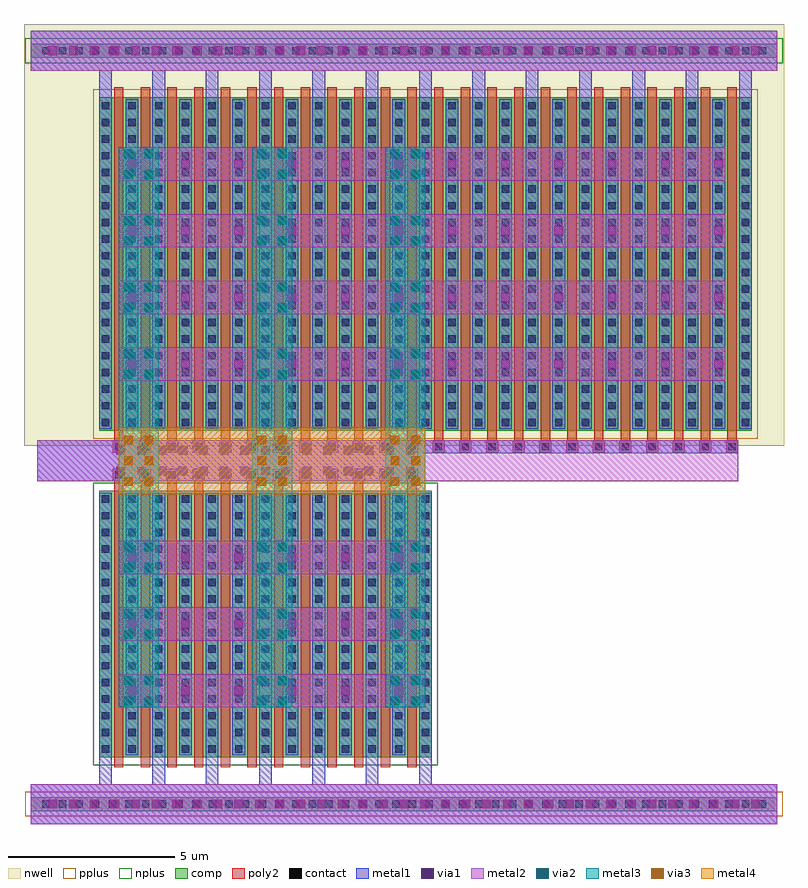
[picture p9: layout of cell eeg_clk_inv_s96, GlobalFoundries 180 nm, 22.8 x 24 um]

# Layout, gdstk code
import gdstk
lib = gdstk.Library(unit=1e-6, precision=1e-09)
def R(c, l, rs):  # rectangles x0, y0, x1, y1
    for r in rs: c.add(gdstk.rectangle(r[:2], r[2:], *l))
def A(c, l, x, y, w, h, nx, ny, dx, dy):  # array of equal rectangles
    R(c, l, [(x+i*dx, y+j*dy, x+i*dx+w, y+j*dy+h) for i in range(nx) for j in range(ny)])
nwell = (21, 0)
comp = (22, 0)
poly2 = (30, 0)
pplus = (31, 0)
nplus = (32, 0)
contact = (33, 0)
metal1 = (34, 0)
via1 = (35, 0)
metal2 = (36, 0)
via2 = (38, 0)
via3 = (40, 0)
metal3 = (42, 0)
metal4 = (46, 0)

eeg_clk_inv_s96 = lib.new_cell('eeg_clk_inv_s96')
R(eeg_clk_inv_s96, nwell, [(-0.2,11.35,22.6,24)])
R(eeg_clk_inv_s96, comp, [(0,0.39,22.4,0.81), (2.05,2,12.03,10), (2.05,11.8,21.63,21.8), (0,22.99,22.4,23.41)])
A(eeg_clk_inv_s96, poly2, 2.5, 1.7, 0.28, 8.96, 12, 1, 0.8, 0)
A(eeg_clk_inv_s96, poly2, 2.46, 10.3, 0.36, 0.36, 12, 1, 0.8, 0)
A(eeg_clk_inv_s96, poly2, 2.46, 11.14, 0.36, 0.36, 24, 1, 0.8, 0)
A(eeg_clk_inv_s96, poly2, 2.5, 11.14, 0.28, 10.96, 24, 1, 0.8, 0)
R(eeg_clk_inv_s96, pplus, [(-0.16,0.23,22.56,0.97), (1.87,11.56,21.81,22.04)])
R(eeg_clk_inv_s96, nplus, [(1.87,1.76,12.21,10.24), (-0.16,22.83,22.56,23.57)])
A(eeg_clk_inv_s96, contact, 0.34, 0.49, 0.22, 0.22, 44, 2, 0.5, 22.6)
A(eeg_clk_inv_s96, contact, 2.13, 2.14, 0.22, 0.22, 13, 16, 0.8, 0.5)
A(eeg_clk_inv_s96, contact, 2.53, 10.37, 0.22, 0.22, 12, 1, 0.8, 0)
A(eeg_clk_inv_s96, contact, 2.53, 11.21, 0.22, 0.22, 24, 1, 0.8, 0)
A(eeg_clk_inv_s96, contact, 2.13, 11.94, 0.22, 0.22, 25, 20, 0.8, 0.5)
A(eeg_clk_inv_s96, metal1, 2.05, 0.6, 0.38, 9.34, 7, 1, 1.6, 0)
A(eeg_clk_inv_s96, metal1, 2.85, 2.06, 0.38, 7.88, 6, 1, 1.6, 0)
A(eeg_clk_inv_s96, metal1, 2.05, 11.86, 0.38, 11.34, 13, 1, 1.6, 0)
A(eeg_clk_inv_s96, metal1, 2.85, 11.86, 0.38, 9.88, 12, 1, 1.6, 0)
R(eeg_clk_inv_s96, metal1, [(0,0,22.4,1.2), (0.2,0.1,22.2,1.1), (0,0.39,22.4,0.81), (0.2,10.29,11.63,11.51), (2.45,10.29,11.63,10.67), (2.45,10.29,11.63,11.51), (2.45,11.13,21.23,11.51), (0,22.6,22.4,23.8), (0.2,22.7,22.2,23.7), (0,22.99,22.4,23.41)])
A(eeg_clk_inv_s96, via1, 0.53, 0.47, 0.26, 0.26, 35, 2, 0.62, 22.6)
A(eeg_clk_inv_s96, via1, 2.91, 3.87, 0.26, 0.26, 6, 3, 1.6, 2)
A(eeg_clk_inv_s96, via1, 2.57, 10.46, 0.26, 0.26, 15, 2, 0.62, 0.62)
A(eeg_clk_inv_s96, via1, 2.91, 13.67, 0.26, 0.26, 12, 4, 1.6, 2)
A(eeg_clk_inv_s96, metal2, 2.64, 3.5, 1.2, 1, 3, 3, 4, 2)
A(eeg_clk_inv_s96, metal2, 2.85, 3.5, 8.38, 1, 1, 3, 0, 2)
A(eeg_clk_inv_s96, metal2, 2.64, 13.3, 1.2, 1, 3, 4, 4, 2)
A(eeg_clk_inv_s96, metal2, 2.85, 13.3, 17.98, 1, 1, 4, 0, 2)
R(eeg_clk_inv_s96, metal2, [(0,0,22.4,1.2), (0.2,0.1,22.2,1.1), (0.2,10.29,21.23,11.51), (2.45,10.29,11.63,11.51), (0,22.6,22.4,23.8), (0.2,22.7,22.2,23.7)])
R(eeg_clk_inv_s96, via2, [(2.8,3.56,3.06,3.82), (3.42,3.56,3.68,3.82), (6.8,3.56,7.06,3.82), (7.42,3.56,7.68,3.82), (10.8,3.56,11.06,3.82), (11.42,3.56,11.68,3.82), (2.8,4.18,3.06,4.44), (3.42,4.18,3.68,4.44), (6.8,4.18,7.06,4.44), (7.42,4.18,7.68,4.44), (10.8,4.18,11.06,4.44), (11.42,4.18,11.68,4.44), (2.8,5.56,3.06,5.82), (3.42,5.56,3.68,5.82), (6.8,5.56,7.06,5.82), (7.42,5.56,7.68,5.82), (10.8,5.56,11.06,5.82), (11.42,5.56,11.68,5.82), (2.8,6.18,3.06,6.44), (3.42,6.18,3.68,6.44), (6.8,6.18,7.06,6.44), (7.42,6.18,7.68,6.44), (10.8,6.18,11.06,6.44), (11.42,6.18,11.68,6.44), (2.8,7.56,3.06,7.82), (3.42,7.56,3.68,7.82), (6.8,7.56,7.06,7.82), (7.42,7.56,7.68,7.82), (10.8,7.56,11.06,7.82), (11.42,7.56,11.68,7.82), (2.8,8.18,3.06,8.44), (3.42,8.18,3.68,8.44), (6.8,8.18,7.06,8.44), (7.42,8.18,7.68,8.44), (10.8,8.18,11.06,8.44), (11.42,8.18,11.68,8.44), (2.8,13.36,3.06,13.62), (3.42,13.36,3.68,13.62), (6.8,13.36,7.06,13.62), (7.42,13.36,7.68,13.62), (10.8,13.36,11.06,13.62), (11.42,13.36,11.68,13.62), (2.8,13.98,3.06,14.24), (3.42,13.98,3.68,14.24), (6.8,13.98,7.06,14.24), (7.42,13.98,7.68,14.24), (10.8,13.98,11.06,14.24), (11.42,13.98,11.68,14.24), (2.8,15.36,3.06,15.62), (3.42,15.36,3.68,15.62), (6.8,15.36,7.06,15.62), (7.42,15.36,7.68,15.62), (10.8,15.36,11.06,15.62), (11.42,15.36,11.68,15.62), (2.8,15.98,3.06,16.24), (3.42,15.98,3.68,16.24), (6.8,15.98,7.06,16.24), (7.42,15.98,7.68,16.24), (10.8,15.98,11.06,16.24), (11.42,15.98,11.68,16.24), (2.8,17.36,3.06,17.62), (3.42,17.36,3.68,17.62), (6.8,17.36,7.06,17.62), (7.42,17.36,7.68,17.62), (10.8,17.36,11.06,17.62), (11.42,17.36,11.68,17.62), (2.8,17.98,3.06,18.24), (3.42,17.98,3.68,18.24), (6.8,17.98,7.06,18.24), (7.42,17.98,7.68,18.24), (10.8,17.98,11.06,18.24), (11.42,17.98,11.68,18.24), (2.8,19.36,3.06,19.62), (3.42,19.36,3.68,19.62), (6.8,19.36,7.06,19.62), (7.42,19.36,7.68,19.62), (10.8,19.36,11.06,19.62), (11.42,19.36,11.68,19.62), (2.8,19.98,3.06,20.24), (3.42,19.98,3.68,20.24), (6.8,19.98,7.06,20.24), (7.42,19.98,7.68,20.24), (10.8,19.98,11.06,20.24), (11.42,19.98,11.68,20.24)])
A(eeg_clk_inv_s96, via3, 2.8, 10.15, 0.26, 0.26, 1, 3, 0, 0.62)
A(eeg_clk_inv_s96, via3, 3.42, 10.15, 0.26, 0.26, 1, 3, 0, 0.62)
A(eeg_clk_inv_s96, via3, 6.8, 10.15, 0.26, 0.26, 1, 3, 0, 0.62)
A(eeg_clk_inv_s96, via3, 7.42, 10.15, 0.26, 0.26, 1, 3, 0, 0.62)
A(eeg_clk_inv_s96, via3, 10.8, 10.15, 0.26, 0.26, 1, 3, 0, 0.62)
A(eeg_clk_inv_s96, via3, 11.42, 10.15, 0.26, 0.26, 1, 3, 0, 0.62)
A(eeg_clk_inv_s96, metal3, 2.64, 3.5, 1.2, 16.8, 3, 1, 4, 0)
A(eeg_clk_inv_s96, metal3, 2.64, 3.5, 1.2, 1, 3, 3, 4, 2)
A(eeg_clk_inv_s96, metal3, 2.64, 9.9, 1.2, 2, 3, 1, 4, 0)
A(eeg_clk_inv_s96, metal3, 2.64, 13.3, 1.2, 1, 3, 4, 4, 2)
A(eeg_clk_inv_s96, metal4, 2.64, 9.9, 1.2, 2, 3, 1, 4, 0)
R(eeg_clk_inv_s96, metal4, [(2.64,9.9,11.84,11.9)])

lib.write_gds('eeg_clk_inv_s96.gds')
